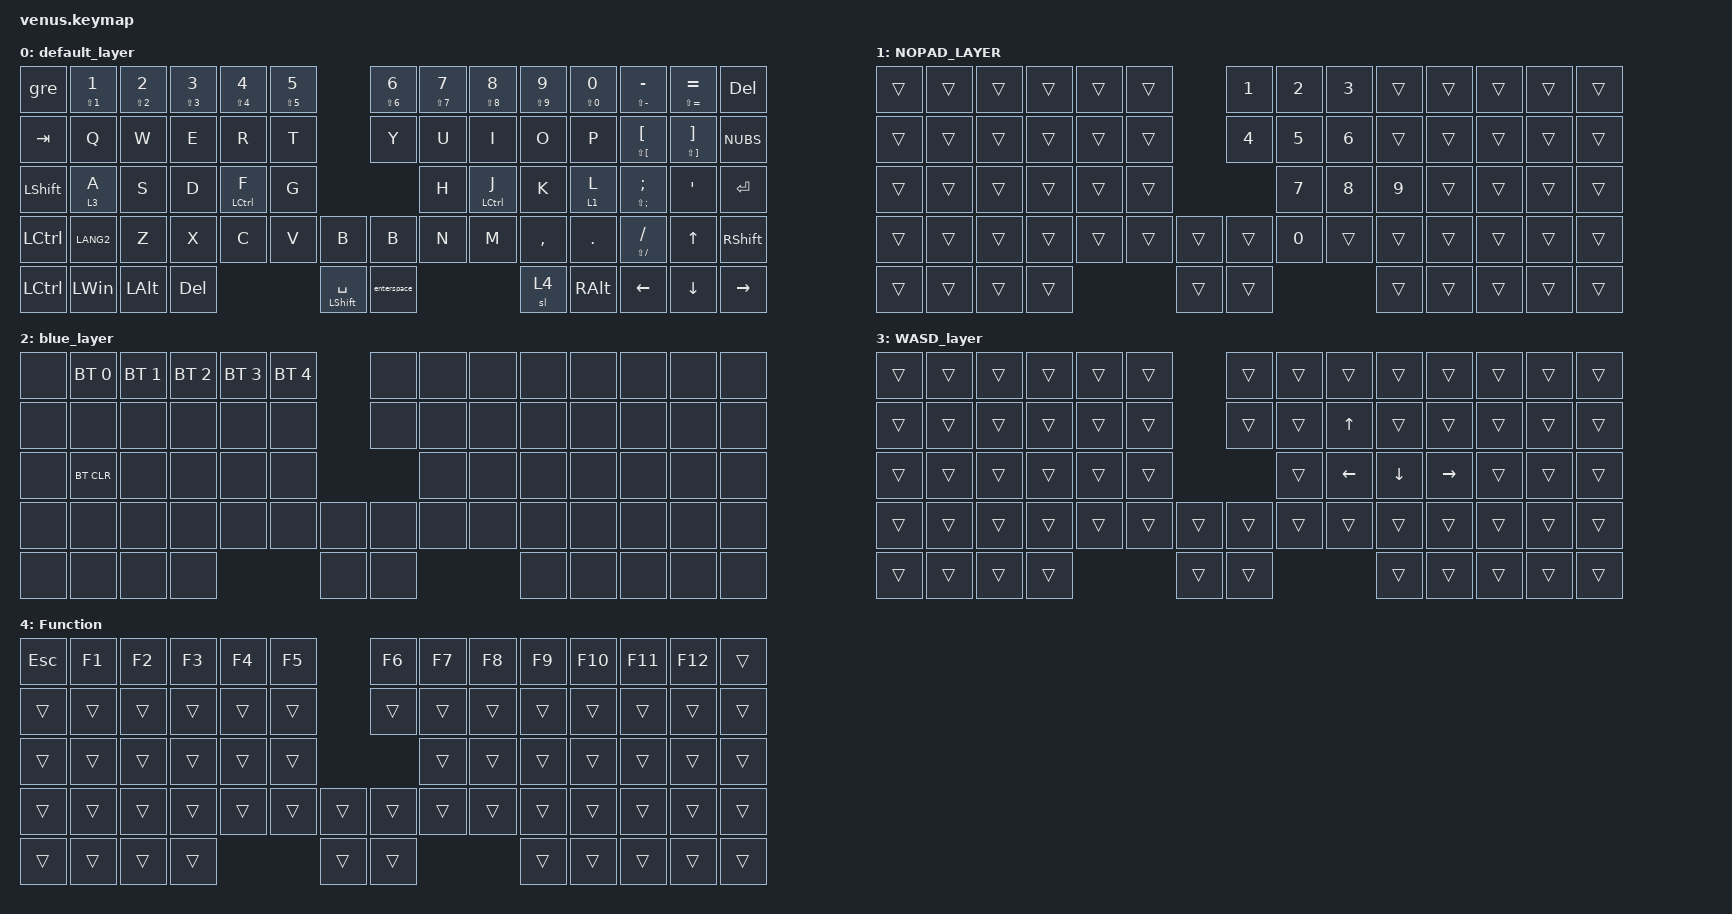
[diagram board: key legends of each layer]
#include <behaviors/mouse_keys.dtsi>
#include <behaviors.dtsi>
#include <dt-bindings/zmk/bt.h>
#include <dt-bindings/zmk/keys.h>
#include <dt-bindings/zmk/pointing.h>

#define DEFAULT 0

&mt { tapping-term-ms = <140>; };

&lt { tapping-term-ms = <200>; };

/ {
    combos {
        compatible = "zmk,combos";

        combo_space {
            timeout-ms = <50>;
            key-positions = <61 70>;
            bindings = <&kp SPACE>;
        };

        combo_bt {
            timeout-ms = <50>;
            key-positions = <0 14 13 27>;
            bindings = <&tog 2>;
        };

        combo_Rpara {
            timeout-ms = <50>;
            key-positions = <31 32>;
            bindings = <&kp RPAR>;
        };

        combo_hash {
            timeout-ms = <50>;
            key-positions = <16 17>;
            bindings = <&hashdash>;
        };

        combo_Lpara {
            timeout-ms = <50>;
            key-positions = <29 30>;
            bindings = <&kp LPAR>;
        };

        combo_num {
            timeout-ms = <50>;
            key-positions = <30 31>;
            bindings = <&mo 1>;
        };

        hr_space {
            timeout-ms = <50>;
            key-positions = <35 36>;
            bindings = <&hotab DOT SPACE>;
        };

        hr_enter {
            timeout-ms = <50>;
            key-positions = <37 38>;
            bindings = <&kp ENTER>;
        };

        hr_bkps {
            timeout-ms = <50>;
            key-positions = <36 37>;
            bindings = <&thumblang>;
        };

        hr2_lang1 {
            timeout-ms = <50>;
            key-positions = <36 61>;
            bindings = <&kp LANG1>;
        };

        middlehold {
            bindings = <&mkp MCLK>;
            key-positions = <19 18>;
        };

        righthold {
            bindings = <&mkp RCLK>;
            key-positions = <45 46>;
        };

        lefthold {
            bindings = <&mkp LCLK>;
            key-positions = <32 33>;
        };
    };

    behaviors {
        gre: grave_esc {
            compatible = "zmk,behavior-tap-dance";
            label = "TAP_DANCE";
            #binding-cells = <0>;
            tapping-term-ms = <140>;
            bindings = <&mt LS(GRAVE) GRAVE>, <&kp ESC>;
        };

        enterspace: enterspace {
            compatible = "zmk,behavior-tap-dance";
            label = "TAP_DANCE_MOD_TAP";
            #binding-cells = <0>;
            tapping-term-ms = <150>;
            bindings = <&spaceback>, <&kp ENTER>;
        };

        spaceback: spaceback {
            compatible = "zmk,behavior-mod-morph";
            label = "spaceback";
            #binding-cells = <0>;
            bindings = <&kp SPACE>, <&mt LC(BACKSPACE) BACKSPACE>;

            mods = <MOD_LSFT>;
        };

        hashdash: hash_dash {
            compatible = "zmk,behavior-tap-dance";
            label = "hashdash";
            #binding-cells = <0>;
            tapping-term-ms = <250>;
            bindings = <&kp HASH>, <&kp MINUS>;
        };

        hrm_dot: jtodot {
            compatible = "zmk,behavior-tap-dance";
            label = "jtodot";
            #binding-cells = <0>;
            tapping-term-ms = <250>;
            bindings = <&kp J>, <&kp DOT>;
        };

        hrm_com: ktocom {
            compatible = "zmk,behavior-tap-dance";
            label = "ktocom";
            #binding-cells = <0>;
            tapping-term-ms = <250>;
            bindings = <&kp K>, <&kp COMMA>;
        };

        hrm_lang1: ftolang {
            compatible = "zmk,behavior-tap-dance";
            label = "ftolang";
            #binding-cells = <0>;
            tapping-term-ms = <200>;
            bindings = <&kp H>, <&kp LANG1>;
        };

        thumblang: thumblang {
            compatible = "zmk,behavior-mod-morph";
            label = "thumblang";
            #binding-cells = <0>;
            bindings = <&kp BACKSPACE>, <&kp DELETE>;

            mods = <MOD_LSFT>;
        };

        hotab: behavior_hotab {
            compatible = "zmk,behavior-hold-tap";
            label = "hotab";
            #binding-cells = <2>;
            flavor = "tap-preferred";
            tapping-term-ms = <150>;
            bindings = <&kp>, <&kp>;
        };

        hotab_sticky: hotab_sticky {
            compatible = "zmk,behavior-hold-tap";
            label = "HOTAB_STICKY";
            bindings = <&sk>, <&kp>;

            #binding-cells = <2>;
            flavor = "tap-preferred";
            tapping-term-ms = <250>;
        };

        hotog_sticky: hotog_sticky {
            compatible = "zmk,behavior-hold-tap";
            label = "HOTOG_STICKY";
            bindings = <&tog>, <&kp>;

            #binding-cells = <2>;
            flavor = "tap-preferred";
            tapping-term-ms = <250>;
        };
    };

    macros {
        mkp_keeplclk: mkp_keep {
            compatible = "zmk,behavior-macro";
            #binding-cells = <0>;
            bindings =
                <&macro_press>,
                <&mkp LCLK>,
                <&macro_pause_for_release>,
                <&macro_release>,
                <&mkp LCLK>;

            label = "MKP_KEEP";
        };

        mkp_keeprclk: new_macro {
            compatible = "zmk,behavior-macro";
            #binding-cells = <0>;
            bindings =
                <&macro_press>,
                <&mkp RCLK>,
                <&macro_pause_for_release>,
                <&macro_release>,
                <&mkp RCLK>;

            label = "NEW_MACRO";
        };

        mkp_keepmclk: new_macro2 {
            compatible = "zmk,behavior-macro";
            #binding-cells = <0>;
            bindings =
                <&macro_press>,
                <&mkp MCLK>,
                <&macro_pause_for_release>,
                <&macro_release>,
                <&mkp MCLK>;

            label = "NEW_MACRO2";
        };
    };

    keymap {
        compatible = "zmk,keymap";

        default_layer {
            bindings = <
&gre       &mt LS(N1) N1  &mt LS(N2) N2  &mt LS(N3) N3  &mt LS(N4) N4          &mt LS(N5) N5                        &mt LS(N6) N6  &mt LS(N7) N7  &mt LS(N8) N8          &mt LS(N9) N9  &mt LS(N0) N0      &mt LS(MINUS) MINUS  &mt LS(EQUAL) EQUAL  &kp DELETE
&kp TAB    &kp Q          &kp W          &kp E          &kp R                  &kp T                                &kp Y          &kp U          &kp I                  &kp O          &kp P              &mt LS(LBKT) LBKT    &mt LS(RBKT) RBKT    &kp NUBS
&kp LSHFT  &lt 3 A        &kp S          &kp D          &hotab_sticky LCTRL F  &kp G                                               &kp H          &hotab_sticky LCTRL J  &kp K          &hotog_sticky 1 L  &mt LS(SEMI) SEMI    &kp SQT              &kp ENTER
&kp LCTRL  &kp LANG2      &kp Z          &kp X          &kp C                  &kp V          &kp B                 &kp B          &kp N          &kp M                  &kp COMMA      &kp DOT            &mt LS(SLASH) SLASH  &kp UP               &kp RSHFT
&kp LCTRL  &kp LWIN       &kp LALT       &kp DELETE                                           &hotab LSHFT SPACE    &enterspace                                          &sl 4          &kp RALT           &kp LEFT             &kp DOWN             &kp RIGHT
            >;
        };

        NOPAD_LAYER {
            bindings = <
&trans  &trans  &trans  &trans  &trans  &trans            &kp N1  &kp N2  &kp N3  &trans  &trans  &trans  &trans  &trans
&trans  &trans  &trans  &trans  &trans  &trans            &kp N4  &kp N5  &kp N6  &trans  &trans  &trans  &trans  &trans
&trans  &trans  &trans  &trans  &trans  &trans                    &kp N7  &kp N8  &kp N9  &trans  &trans  &trans  &trans
&trans  &trans  &trans  &trans  &trans  &trans  &trans    &trans  &kp N0  &trans  &trans  &trans  &trans  &trans  &trans
&trans  &trans  &trans  &trans                  &trans    &trans                  &trans  &trans  &trans  &trans  &trans
            >;
        };

        blue_layer {
            bindings = <
&none  &bt BT_SEL 0  &bt BT_SEL 1  &bt BT_SEL 2  &bt BT_SEL 3  &bt BT_SEL 4           &none  &none  &none  &none  &none  &none  &none  &none
&none  &none         &none         &none         &none         &none                  &none  &none  &none  &none  &none  &none  &none  &none
&none  &bt BT_CLR    &none         &none         &none         &none                         &none  &none  &none  &none  &none  &none  &none
&none  &none         &none         &none         &none         &none         &none    &none  &none  &none  &none  &none  &none  &none  &none
&none  &none         &none         &none                                     &none    &none                &none  &none  &none  &none  &none
            >;
        };

        WASD_layer {
            bindings = <
&trans  &trans  &trans  &trans  &trans  &trans            &trans  &trans  &trans    &trans    &trans     &trans  &trans  &trans
&trans  &trans  &trans  &trans  &trans  &trans            &trans  &trans  &kp UP    &trans    &trans     &trans  &trans  &trans
&trans  &trans  &trans  &trans  &trans  &trans                    &trans  &kp LEFT  &kp DOWN  &kp RIGHT  &trans  &trans  &trans
&trans  &trans  &trans  &trans  &trans  &trans  &trans    &trans  &trans  &trans    &trans    &trans     &trans  &trans  &trans
&trans  &trans  &trans  &trans                  &trans    &trans                    &trans    &trans     &trans  &trans  &trans
            >;
        };

        Function {
            bindings = <
&kp ESCAPE  &kp F1  &kp F2  &kp F3  &kp F4  &kp F5            &kp F6  &kp F7  &kp F8  &kp F9  &kp F10  &kp F11  &kp F12  &trans
&trans      &trans  &trans  &trans  &trans  &trans            &trans  &trans  &trans  &trans  &trans   &trans   &trans   &trans
&trans      &trans  &trans  &trans  &trans  &trans                    &trans  &trans  &trans  &trans   &trans   &trans   &trans
&trans      &trans  &trans  &trans  &trans  &trans  &trans    &trans  &trans  &trans  &trans  &trans   &trans   &trans   &trans
&trans      &trans  &trans  &trans                  &trans    &trans                  &trans  &trans   &trans   &trans   &trans
            >;
        };
    };
};
